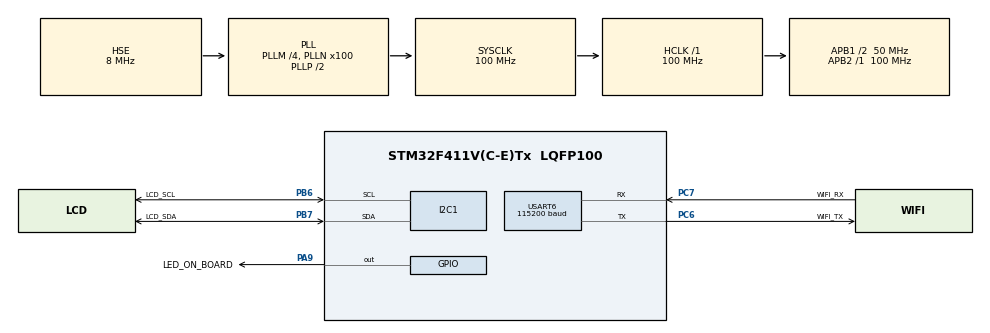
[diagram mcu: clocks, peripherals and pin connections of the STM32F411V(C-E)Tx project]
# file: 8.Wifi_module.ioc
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Mcu.Family=STM32F4
Mcu.Name=STM32F411V(C-E)Tx
Mcu.Package=LQFP100
NVIC.PriorityGroup=NVIC_PRIORITYGROUP_4
NVIC.USART6_IRQn=true\:0\:0\:false\:false\:true\:true\:true\:true
PA13.Mode=Serial_Wire
PA13.Signal=SYS_JTMS-SWDIO
PA14.Mode=Serial_Wire
PA14.Signal=SYS_JTCK-SWCLK
PA9.GPIO_Label=LED_ON_BOARD
PA9.Signal=GPIO_Output
PB6.GPIO_Label=LCD_SCL
PB6.Mode=I2C
PB6.Signal=I2C1_SCL
PB7.GPIO_Label=LCD_SDA
PB7.Mode=I2C
PB7.Signal=I2C1_SDA
PC6.GPIO_Label=WIFI_TX
PC6.Mode=Asynchronous
PC6.Signal=USART6_TX
PC7.GPIO_Label=WIFI_RX
PC7.Mode=Asynchronous
PC7.Signal=USART6_RX
PH0\ -\ OSC_IN.Mode=HSE-External-Oscillator
PH0\ -\ OSC_IN.Signal=RCC_OSC_IN
PH1\ -\ OSC_OUT.Mode=HSE-External-Oscillator
PH1\ -\ OSC_OUT.Signal=RCC_OSC_OUT
ProjectManager.HeapSize=0x200
ProjectManager.StackSize=0x400
ProjectManager.TargetToolchain=STM32CubeIDE
RCC.48MHZClocksFreq_Value=50000000
RCC.AHBFreq_Value=100000000
RCC.APB1CLKDivider=RCC_HCLK_DIV2
RCC.APB1Freq_Value=50000000
RCC.APB1TimFreq_Value=100000000
RCC.APB2Freq_Value=100000000
RCC.APB2TimFreq_Value=100000000
RCC.CortexFreq_Value=100000000
RCC.HCLKFreq_Value=100000000
RCC.HSE_VALUE=8000000
RCC.HSI_VALUE=16000000
RCC.LSE_VALUE=32768
RCC.PLLM=4
RCC.PLLN=100
RCC.PLLSourceVirtual=RCC_PLLSOURCE_HSE
RCC.SYSCLKFreq_VALUE=100000000
RCC.SYSCLKSource=RCC_SYSCLKSOURCE_PLLCLK
RCC.VCOOutputFreq_Value=200000000
USART6.BaudRate=115200
USART6.VirtualMode=VM_ASYNC
board=custom

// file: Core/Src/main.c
/* USER CODE BEGIN Header */
/**
  ******************************************************************************
  * @file           : main.c
  * @brief          : Main program body
  ******************************************************************************
  * @attention
  *
  * Copyright (c) 2025 STMicroelectronics.
  * All rights reserved.
  *
  * This software is licensed under terms that can be found in the LICENSE file
  * in the root directory of this software component.
  * If no LICENSE file comes with this software, it is provided AS-IS.
  *
  ******************************************************************************
  */
/* USER CODE END Header */
#include "main.h"

/* USER CODE BEGIN Includes */
#include "i2c_lcd.h"
#include <stdio.h>
#include <string.h>
/* USER CODE END Includes */

I2C_HandleTypeDef hi2c1;

UART_HandleTypeDef huart6;

/* USER CODE BEGIN PV */
// --- Biến cho giao tiếp UART với Module Wi-Fi ---
I2C_LCD_HandleTypeDef lcd;
uint8_t uart_rx_byte;
char response_buffer[200];
uint8_t response_index = 0;
volatile uint8_t data_received_flag = 0;

typedef enum {
    WIFI_STATE_CONNECTING,
    WIFI_STATE_GET_INFO,
    WIFI_STATE_CONNECTED
} WifiState_t;

WifiState_t wifi_state = WIFI_STATE_CONNECTING;

char line1_str[20];
char line2_str[20];
/* USER CODE END PV */

void SystemClock_Config(void);
static void MX_GPIO_Init(void);
static void MX_I2C1_Init(void);
static void MX_USART6_UART_Init(void);

/* USER CODE BEGIN 0 */
void LCD_Init_Custom()
{
  lcd.hi2c = &hi2c1;
  lcd.address = 0x4E;
  lcd_init(&lcd);
}

int send_at_command(const char* command, const char* expected_response, uint32_t timeout)
{
    // Xóa bộ đệm cũ
    memset(response_buffer, 0, sizeof(response_buffer));
    response_index = 0;

    // Gửi lệnh
    HAL_UART_Transmit(&huart6, (uint8_t*)command, strlen(command), 1000);

    // Chờ cho hết thời gian timeout để thu thập toàn bộ phản hồi
    HAL_Delay(timeout);

    // Sau khi đã chờ, kiểm tra xem chuỗi phản hồi thu thập được có chứa nội dung mong muốn không
    if (strstr(response_buffer, expected_response) != NULL)
    {
        return 1; // Thành công
    }

    return 0; // Thất bại
}
/* USER CODE END 0 */

int main(void)
{
  /* --- KHỞI TẠO --- */
  HAL_Init();
  SystemClock_Config();
  MX_GPIO_Init();
  MX_I2C1_Init();
  MX_USART6_UART_Init();

  /* USER CODE BEGIN 2 */
  // Khởi tạo LCD và bắt đầu lắng nghe UART
  LCD_Init_Custom();
  HAL_UART_Receive_IT(&huart6, &uart_rx_byte, 1);

//  // Reset module và tắt echo
//  lcd_puts(&lcd, "Set up");
//  send_at_command("AT+RST\r\n", "ready", 5000);
//  HAL_Delay(2000);
//  send_at_command("ATE0\r\n", "OK", 1000);
//  HAL_Delay(500);
//  send_at_command("AT+WMODE=1,1\r\n", "OK", 3000);
//  HAL_Delay(500);

  // Gửi lệnh kết nối Wi-Fi một lần duy nhất
  const char* connect_command = "AT+WJAP=\"Herukyatto\",\"1234567890\"\r\n";
  lcd_clear(&lcd);
  lcd_puts(&lcd, "Dang ket noi...");
  HAL_UART_Transmit(&huart6, (uint8_t*)connect_command, strlen(connect_command), 1000);
  /* USER CODE END 2 */

  /* Infinite loop */
  while (1)
  {
    // Đây là một máy trạng thái (state machine) đơn giản
	    switch (wifi_state)
	    {
	      case WIFI_STATE_CONNECTING:
	        // Trạng thái chờ sự kiện WIFI_GOT_IP
	        // Dựa trên quan sát thực tế của bạn, chuỗi này có dấu gạch dưới
	        if (strstr(response_buffer, "+EVENT:WIFI_GOT_IP") != NULL)
	        {
	          lcd_clear(&lcd);
	          lcd_puts(&lcd, "KET NOI THANH CONG!");
	          HAL_Delay(2000);
	          wifi_state = WIFI_STATE_GET_INFO; // Chuyển sang trạng thái lấy thông tin
	        }
	        break;

	      case WIFI_STATE_GET_INFO:
	        // Trạng thái gửi lệnh lấy thông tin
	        lcd_clear(&lcd);
	        lcd_puts(&lcd, "Lay thong tin...");
	        // Sử dụng AT+WJAP? để lấy thông tin
	        if (send_at_command("AT+WJAP?\r\n", "OK", 3000))
	        {
	            // --- XỬ LÝ CHUỖI ĐỂ LẤY IP VÀ MAC ---
	            char ip_addr[16] = "Not Found";
	            char mac_addr[18] = "Not Found";
	            char temp_buffer[200];
	            strcpy(temp_buffer, response_buffer);

	            char *token = strtok(temp_buffer, ",");
	            int token_count = 0;
	            while(token != NULL)
	            {
	                // Dựa trên định dạng, IP là token thứ 8, MAC là token thứ 6
	                if(token_count == 5) {
	                    strncpy(mac_addr, token, 17);
	                    mac_addr[17] = '\0';
	                } else if(token_count == 7) {
	                    strncpy(ip_addr, token, 15);
	                    ip_addr[15] = '\0';
	                }
	                token = strtok(NULL, ",");
	                token_count++;
	            }

	            // In kết quả đã xử lý
	            lcd_clear(&lcd);
	            sprintf(line1_str, "IP: %s", ip_addr);
	            sprintf(line2_str, "MAC:%s", mac_addr);
	            lcd_puts(&lcd, line1_str);
	            lcd_gotoxy(&lcd, 0, 1);
	            lcd_puts(&lcd, line2_str);

	            wifi_state = WIFI_STATE_CONNECTED;
	        }
	        else
	        {
	            lcd_clear(&lcd);
	            lcd_puts(&lcd, "Loi lay thong tin");
	            HAL_Delay(2000);
	        }
	        break;

	      case WIFI_STATE_CONNECTED:
	        // Đã kết nối và lấy thông tin xong, không làm gì cả
	        break;
	    }
  }
}

void SystemClock_Config(void)
{
  RCC_OscInitTypeDef RCC_OscInitStruct = {0};
  RCC_ClkInitTypeDef RCC_ClkInitStruct = {0};

  /** Configure the main internal regulator output voltage
  */
  __HAL_RCC_PWR_CLK_ENABLE();
  __HAL_PWR_VOLTAGESCALING_CONFIG(PWR_REGULATOR_VOLTAGE_SCALE1);

  /** Initializes the RCC Oscillators according to the specified parameters
  * in the RCC_OscInitTypeDef structure.
  */
  RCC_OscInitStruct.OscillatorType = RCC_OSCILLATORTYPE_HSE;
  RCC_OscInitStruct.HSEState = RCC_HSE_ON;
  RCC_OscInitStruct.PLL.PLLState = RCC_PLL_ON;
  RCC_OscInitStruct.PLL.PLLSource = RCC_PLLSOURCE_HSE;
  RCC_OscInitStruct.PLL.PLLM = 4;
  RCC_OscInitStruct.PLL.PLLN = 100;
  RCC_OscInitStruct.PLL.PLLP = RCC_PLLP_DIV2;
  RCC_OscInitStruct.PLL.PLLQ = 4;
  if (HAL_RCC_OscConfig(&RCC_OscInitStruct) != HAL_OK)
  {
    Error_Handler();
  }

  /** Initializes the CPU, AHB and APB buses clocks
  */
  RCC_ClkInitStruct.ClockType = RCC_CLOCKTYPE_HCLK|RCC_CLOCKTYPE_SYSCLK
                              |RCC_CLOCKTYPE_PCLK1|RCC_CLOCKTYPE_PCLK2;
  RCC_ClkInitStruct.SYSCLKSource = RCC_SYSCLKSOURCE_PLLCLK;
  RCC_ClkInitStruct.AHBCLKDivider = RCC_SYSCLK_DIV1;
  RCC_ClkInitStruct.APB1CLKDivider = RCC_HCLK_DIV2;
  RCC_ClkInitStruct.APB2CLKDivider = RCC_HCLK_DIV1;

  if (HAL_RCC_ClockConfig(&RCC_ClkInitStruct, FLASH_LATENCY_3) != HAL_OK)
  {
    Error_Handler();
  }
}

static void MX_I2C1_Init(void)
{

  hi2c1.Instance = I2C1;
  hi2c1.Init.ClockSpeed = 100000;
  hi2c1.Init.DutyCycle = I2C_DUTYCYCLE_2;
  hi2c1.Init.OwnAddress1 = 0;
  hi2c1.Init.AddressingMode = I2C_ADDRESSINGMODE_7BIT;
  hi2c1.Init.DualAddressMode = I2C_DUALADDRESS_DISABLE;
  hi2c1.Init.OwnAddress2 = 0;
  hi2c1.Init.GeneralCallMode = I2C_GENERALCALL_DISABLE;
  hi2c1.Init.NoStretchMode = I2C_NOSTRETCH_DISABLE;
  if (HAL_I2C_Init(&hi2c1) != HAL_OK)
  {
    Error_Handler();
  }

}

static void MX_USART6_UART_Init(void)
{

  huart6.Instance = USART6;
  huart6.Init.BaudRate = 115200;
  huart6.Init.WordLength = UART_WORDLENGTH_8B;
  huart6.Init.StopBits = UART_STOPBITS_1;
  huart6.Init.Parity = UART_PARITY_NONE;
  huart6.Init.Mode = UART_MODE_TX_RX;
  huart6.Init.HwFlowCtl = UART_HWCONTROL_NONE;
  huart6.Init.OverSampling = UART_OVERSAMPLING_16;
  if (HAL_UART_Init(&huart6) != HAL_OK)
  {
    Error_Handler();
  }

}

static void MX_GPIO_Init(void)
{
  GPIO_InitTypeDef GPIO_InitStruct = {0};

  /* GPIO Ports Clock Enable */
  __HAL_RCC_GPIOH_CLK_ENABLE();
  __HAL_RCC_GPIOC_CLK_ENABLE();
  __HAL_RCC_GPIOA_CLK_ENABLE();
  __HAL_RCC_GPIOB_CLK_ENABLE();

  /*Configure GPIO pin Output Level */
  HAL_GPIO_WritePin(LED_ON_BOARD_GPIO_Port, LED_ON_BOARD_Pin, GPIO_PIN_RESET);

  /*Configure GPIO pin : LED_ON_BOARD_Pin */
  GPIO_InitStruct.Pin = LED_ON_BOARD_Pin;
  GPIO_InitStruct.Mode = GPIO_MODE_OUTPUT_PP;
  GPIO_InitStruct.Pull = GPIO_NOPULL;
  GPIO_InitStruct.Speed = GPIO_SPEED_FREQ_LOW;
  HAL_GPIO_Init(LED_ON_BOARD_GPIO_Port, &GPIO_InitStruct);

}

/* USER CODE BEGIN 4 */
void HAL_UART_RxCpltCallback(UART_HandleTypeDef *huart)
{
  if (huart->Instance == USART6)
  {
    // Chỉ ghép ký tự vào bộ đệm, không đặt cờ báo nữa
    if (response_index < sizeof(response_buffer) - 1)
    {
      // Thay thế ký tự xuống dòng bằng dấu cách để dễ hiển thị trên 1 dòng
      if(uart_rx_byte == '\r' || uart_rx_byte == '\n')
      {
          response_buffer[response_index++] = ' ';
      }
      else
      {
          response_buffer[response_index++] = uart_rx_byte;
      }
    }

    // Luôn lắng nghe byte tiếp theo
    HAL_UART_Receive_IT(&huart6, &uart_rx_byte, 1);
  }
}
/* USER CODE END 4 */

void Error_Handler(void)
{
  __disable_irq();
  while (1)
  {
  }
}
